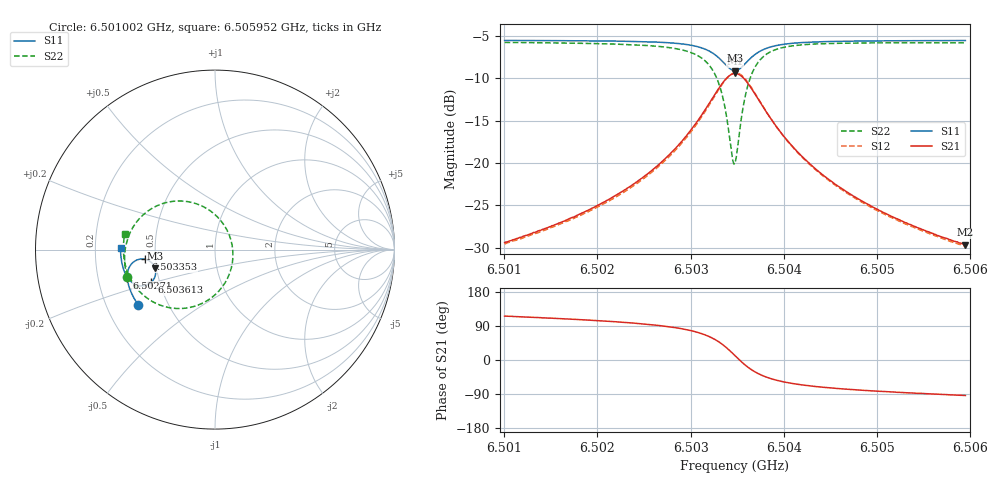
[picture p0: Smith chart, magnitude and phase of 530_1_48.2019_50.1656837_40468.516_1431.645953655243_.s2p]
#  HZ  S  RI  R  50.00
! Rohde & Schwarz Vector Network Analyzer
! Rohde-Schwarz,ZNB20-2Port,1311601062101988,3.16
! Created: UTC 3/20/2024, 11:59:50 AM
! freq[Hz]  re:S11  im:S11  re:S21  im:S21  re:S12  im:S12  re:S22  im:S22
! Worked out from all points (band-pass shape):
!   401 points, 6.501002 GHz to 6.505952 GHz, reference 50 ohm
!   highest |S21| = -9.45 dB at 6.503477 GHz (marker M1); lowest = -29.6 dB at 6.505952 GHz (marker M2)
!   |S21| within 3 dB of the highest: 6.50323 GHz to 6.503725 GHz (494.6 kHz wide, 0.00761 % of centre)
!   lowest |S11| = -9.1 dB at 6.503477 GHz (marker M3), VSWR 2.08, Z = 24.5 - j5.86 ohm
!   |S11| at or under -10 dB: nowhere
!   |S22| runs from -20.1 to -5.8 dB; largest |S21 - S12| = 0.011
!   S11 on the Smith chart (normalised r, x): 6.501002 GHz: 0.34, -0.29; 6.50271 GHz: 0.33, -0.14; 6.503353 GHz: 0.44, -0.06; 6.503613 GHz: 0.45, -0.19; 6.505952 GHz: 0.31, +0.01
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6.5010022e9  -0.4285 -0.3072  -0.0148 0.0306  -0.0132 0.0306  -0.4908 -0.1508
6.5018313e9  -0.4638 -0.2454  -0.0141 0.0487  -0.0118 0.0481  -0.5033 -0.0621
6.5022768e9  -0.4794 -0.2057  -0.0113 0.0676  -0.00838 0.0665  -0.5001 0.00186
6.5026604e9  -0.4884 -0.1628  -0.00169 0.0982  0.0017 0.0959  -0.4795 0.0793
6.5027099e9  -0.4887 -0.1562  0.00058 0.1039  0.00426 0.1014  -0.4742 0.092
6.502945e9  -0.4856 -0.1195  0.0232 0.1405  0.0268 0.1365  -0.4272 0.1659
6.5031058e9  -0.4711 -0.0873  0.0621 0.1764  0.0648 0.1708  -0.3515 0.2293
6.5032543e9  -0.4339 -0.0575  0.1431 0.2054  0.1437 0.1994  -0.2039 0.2708
6.5033533e9  -0.3876 -0.0542  0.2339 0.1892  0.2339 0.185  -0.0467 0.2293
6.5034399e9  -0.3448 -0.0828  0.3122 0.1155  0.3146 0.1118  0.0782 0.0841
6.5034647e9  -0.3367 -0.097  0.3256 0.084  0.329 0.0796  0.0954 0.0247
6.5034771e9  -0.3339 -0.1048  0.3301 0.0671  0.3337 0.0623  0.0992 -0.00659
6.5035018e9  -0.3307 -0.1209  0.3336 0.0327  0.3377 0.0265  0.0974 -0.0697
6.5035389e9  -0.3328 -0.1448  0.3267 -0.0173  0.3303 -0.0256  0.0705 -0.1583
6.5036132e9  -0.3547 -0.1819  0.2804 -0.0936  0.2807 -0.1046  -0.0383 -0.2812
6.5037246e9  -0.4002 -0.202  0.194 -0.139  0.1891 -0.1486  -0.2137 -0.3282
6.5038854e9  -0.4474 -0.1925  0.1103 -0.1355  0.1035 -0.1406  -0.3641 -0.2801
6.5040587e9  -0.4753 -0.1711  0.065 -0.1147  0.0589 -0.117  -0.4374 -0.2138
6.5043061e9  -0.4963 -0.1412  0.0343 -0.0897  0.0298 -0.0902  -0.4814 -0.1407
6.5046774e9  -0.5119 -0.102  0.0151 -0.0658  0.0119 -0.0655  -0.5042 -0.0653
6.5051352e9  -0.5214 -0.0594  0.0052 -0.0489  0.00287 -0.0482  -0.5104 0.000479
6.5059519e9  -0.5264 0.0102  -0.0021 -0.0329  -0.00339 -0.0322  -0.5029 0.0878
